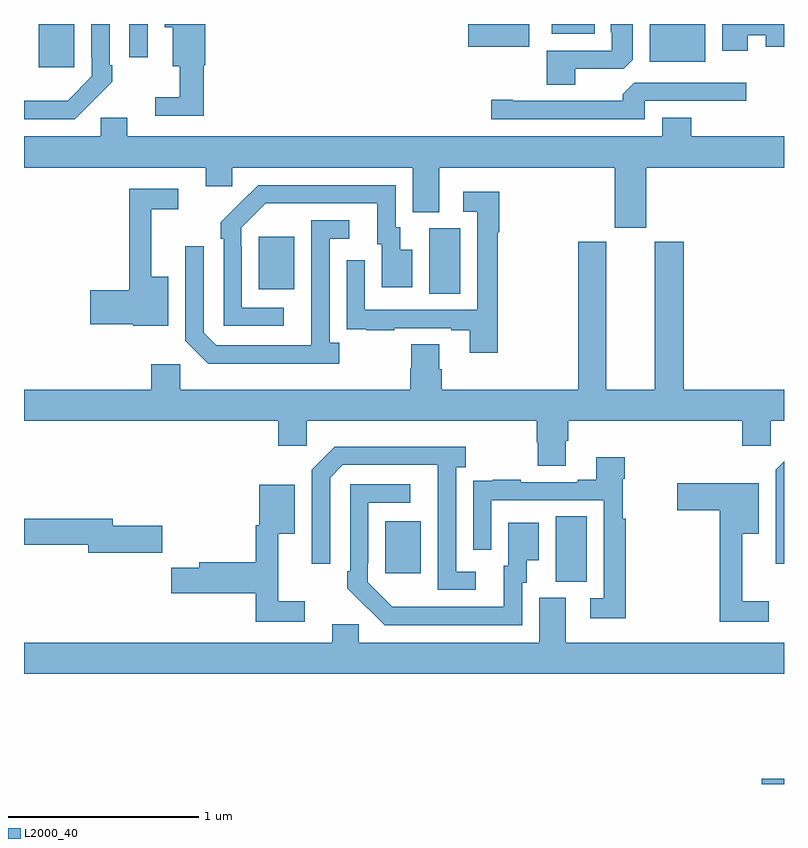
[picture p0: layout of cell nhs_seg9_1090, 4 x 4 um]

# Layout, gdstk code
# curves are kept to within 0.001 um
import gdstk
lib = gdstk.Library(unit=1e-6, precision=1e-09)
def R(c, l, rs):  # rectangles x0, y0, x1, y1
    for r in rs: c.add(gdstk.rectangle(r[:2], r[2:], *l))
def P(c, l, *ps):  # polygons
    for p in ps: c.add(gdstk.Polygon(p, *l))
L2000_40 = (2000, 40)

nhs_seg9_1090 = lib.new_cell('nhs_seg9_1090')
R(nhs_seg9_1090, L2000_40, [(174.882,1202.5,175,1202.528), (173.798,1203.565,173.962,1203.908), (172.901,1203.609,173.089,1203.883), (173.132,1205.08,173.296,1205.424), (172.235,1205.105,172.423,1205.38), (171.077,1206.273,171.265,1206.5), (174.293,1206.302,174.586,1206.5), (171.555,1206.324,171.651,1206.5), (173.339,1206.38,173.659,1206.5), (173.777,1206.449,174.004,1206.5)])
P(nhs_seg9_1090, L2000_40, [(174.808,1206.442),(174.905,1206.442),(174.905,1206.38),(175,1206.38),(175,1206.5),(174.674,1206.5),(174.674,1206.36),(174.808,1206.36)],
  [(173.902,1206.264),(174.156,1206.264),(174.205,1206.313),(174.205,1206.5),(174.089,1206.5),(174.089,1206.457),(174.093,1206.457),(174.093,1206.36),(173.75,1206.36),(173.75,1206.181),(173.902,1206.181)],
  [(171.947,1206.282),(171.953,1206.282),(171.953,1206.5),(171.74,1206.5),(171.74,1206.482),(171.782,1206.482),(171.782,1206.278),(171.819,1206.278),(171.819,1206.115),(171.69,1206.115),(171.69,1206.018),(171.947,1206.018)],
  [(171.359,1206.091),(171.36,1206.09),(171.465,1206.195),(171.465,1206.283),(171.45,1206.283),(171.45,1206.5),(171.354,1206.5),(171.354,1206.325),(171.357,1206.325),(171.357,1206.225),(171.229,1206.097),(171,1206.096),(171,1206),(171.268,1206)],
  [(174.267,1206.096),(174.802,1206.096),(174.802,1206.192),(174.213,1206.192),(174.152,1206.13),(174.152,1206.096),(173.572,1206.096),(173.572,1206.101),(173.46,1206.101),(173.46,1206),(174.267,1206)],
  [(174.274,1205.744),(175,1205.744),(175,1205.908),(174.512,1205.908),(174.512,1206.007),(174.359,1206.007),(174.359,1205.908),(171.544,1205.908),(171.544,1206.006),(171.405,1206.006),(171.405,1205.908),(171,1205.908),(171,1205.744),(171.956,1205.744),(171.956,1205.646),(172.095,1205.646),(172.095,1205.744),(173.045,1205.744),(173.045,1205.509),(173.185,1205.509),(173.185,1205.744),(174.11,1205.744),(174.11,1205.427),(174.274,1205.427)],
  [(172.366,1205.007),(172.146,1205.007),(172.146,1205.327),(172.143,1205.327),(172.143,1205.427),(172.272,1205.556),(172.859,1205.556),(172.859,1205.34),(172.883,1205.34),(172.883,1205.115),(173.044,1205.115),(173.044,1205.311),(172.981,1205.311),(172.981,1205.43),(172.956,1205.43),(172.956,1205.652),(172.232,1205.652),(172.035,1205.457),(172.035,1205.369),(172.05,1205.369),(172.05,1204.911),(172.366,1204.911)],
  [(171.76,1205.17),(171.671,1205.17),(171.671,1205.526),(171.811,1205.526),(171.811,1205.634),(171.553,1205.634),(171.553,1205.099),(171.348,1205.099),(171.348,1204.921),(171.576,1204.921),(171.576,1204.913),(171.76,1204.913)],
  [(173.494,1205.404),(173.501,1205.404),(173.501,1205.617),(173.313,1205.617),(173.313,1205.511),(173.385,1205.511),(173.385,1204.995),(172.794,1204.995),(172.794,1205.257),(172.698,1205.257),(172.698,1205.002),(172.699,1205.002),(172.699,1204.893),(172.801,1204.893),(172.801,1204.887),(172.949,1204.887),(172.949,1204.899),(173.249,1204.899),(173.249,1204.887),(173.345,1204.887),(173.345,1204.77),(173.494,1204.77)],
  [(172.66,1204.822),(172.608,1204.822),(172.608,1205.37),(172.711,1205.37),(172.711,1205.466),(172.512,1205.466),(172.511,1204.809),(172.011,1204.809),(171.945,1204.875),(171.945,1205.329),(171.849,1205.329),(171.849,1204.833),(171.97,1204.712),(172.66,1204.712)],
  [(173.851,1204.306),(173.864,1204.306),(173.864,1204.412),(174.779,1204.412),(174.779,1204.281),(174.93,1204.281),(174.93,1204.412),(175,1204.412),(175,1204.576),(174.473,1204.576),(174.473,1205.355),(174.32,1205.355),(174.32,1204.576),(174.064,1204.576),(174.064,1205.355),(173.917,1205.355),(173.917,1204.576),(173.198,1204.576),(173.198,1204.682),(173.185,1204.682),(173.185,1204.814),(173.038,1204.814),(173.038,1204.689),(173.033,1204.689),(173.033,1204.576),(171.822,1204.576),(171.822,1204.708),(171.671,1204.708),(171.671,1204.576),(171,1204.576),(171,1204.412),(172.337,1204.412),(172.337,1204.281),(172.488,1204.281),(172.488,1204.412),(173.699,1204.412),(173.699,1204.299),(173.704,1204.299),(173.704,1204.174),(173.851,1204.174)],
  [(173.377,1203.618),(173.274,1203.618),(173.274,1204.166),(173.326,1204.166),(173.326,1204.276),(172.636,1204.276),(172.515,1204.155),(172.515,1203.66),(172.611,1203.66),(172.611,1204.113),(172.677,1204.179),(173.177,1204.179),(173.178,1203.522),(173.377,1203.522)],
  [(174.167,1203.896),(174.152,1203.896),(174.152,1204.106),(174.161,1204.106),(174.161,1204.219),(174.011,1204.219),(174.011,1204.102),(173.915,1204.102),(173.915,1204.089),(173.615,1204.089),(173.615,1204.102),(173.467,1204.102),(173.467,1204.095),(173.365,1204.095),(173.365,1203.986),(173.364,1203.986),(173.364,1203.732),(173.46,1203.732),(173.46,1203.993),(174.051,1203.993),(174.051,1203.477),(173.979,1203.477),(173.979,1203.372),(174.167,1203.372)],
  [(175,1204.198),(174.957,1204.155),(174.957,1203.66),(175,1203.66)],
  [(174.919,1203.463),(174.779,1203.463),(174.779,1203.818),(174.868,1203.818),(174.868,1204.083),(174.438,1204.083),(174.438,1203.941),(174.661,1203.941),(174.661,1203.354),(174.919,1203.354)],
  [(173.622,1203.558),(173.647,1203.558),(173.647,1203.677),(173.71,1203.677),(173.71,1203.874),(173.549,1203.874),(173.549,1203.648),(173.525,1203.648),(173.525,1203.432),(172.938,1203.433),(172.809,1203.561),(172.809,1203.661),(172.812,1203.661),(172.812,1203.981),(173.032,1203.981),(173.032,1204.077),(172.716,1204.077),(172.716,1203.619),(172.701,1203.619),(172.701,1203.531),(172.898,1203.336),(173.622,1203.336)],
  [(172.477,1203.463),(172.337,1203.463),(172.337,1203.818),(172.426,1203.818),(172.426,1204.075),(172.238,1204.075),(172.238,1203.861),(172.219,1203.861),(172.219,1203.668),(171.923,1203.668),(171.923,1203.638),(171.774,1203.638),(171.774,1203.503),(172.219,1203.503),(172.219,1203.354),(172.477,1203.354)],
  [(171.727,1203.86),(171.466,1203.86),(171.466,1203.896),(171,1203.896),(171,1203.76),(171.338,1203.76),(171.338,1203.718),(171.727,1203.718)],
  [(175,1203.244),(173.851,1203.244),(173.851,1203.48),(173.711,1203.48),(173.711,1203.244),(172.761,1203.244),(172.761,1203.342),(172.622,1203.342),(172.622,1203.244),(171,1203.244),(171,1203.08),(175,1203.08)])

lib.write_gds('nhs_seg9_1090.gds')
